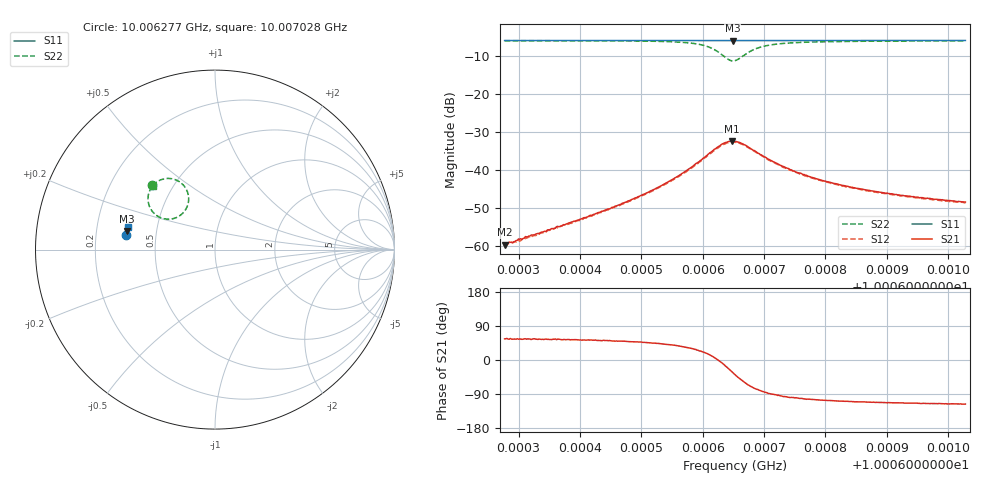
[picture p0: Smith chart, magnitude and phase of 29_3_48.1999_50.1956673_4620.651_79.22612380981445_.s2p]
#  HZ  S  RI  R  50.00
! Rohde & Schwarz Vector Network Analyzer
! Rohde-Schwarz,ZNB20-2Port,1311601062101988,3.16
! Created: UTC 3/20/2024, 11:37:17 AM
! freq[Hz]  re:S11  im:S11  re:S21  im:S21  re:S12  im:S12  re:S22  im:S22
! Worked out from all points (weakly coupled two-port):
!   401 points, 10.006277 GHz to 10.007028 GHz, reference 50 ohm
!   highest |S21| = -32.49 dB at 10.006647 GHz (marker M1); lowest = -59.8 dB at 10.006277 GHz (marker M2)
!   lowest |S11| = -6.0 dB at 10.006649 GHz (marker M3), VSWR 3.00, Z = 16.8 + j4.63 ohm
!   |S11| at or under -10 dB: nowhere
!   |S22| runs from -11.3 to -6.0 dB; largest |S21 - S12| = 0.0016
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1.00062772e10  -0.4957 0.0802  0.000579 0.000849  0.000507 0.000845  -0.3493 0.3575
1.0006403e10  -0.4945 0.0884  0.00139 0.00179  0.00125 0.00182  -0.3342 0.3707
1.00064631e10  -0.4938 0.0926  0.00221 0.00263  0.00207 0.00267  -0.3216 0.3792
1.00065288e10  -0.493 0.0968  0.00432 0.00409  0.00407 0.00416  -0.2953 0.3912
1.00065645e10  -0.4923 0.0994  0.00705 0.00512  0.00665 0.0053  -0.2659 0.3964
1.0006602e10  -0.4913 0.1019  0.0134 0.00503  0.013 0.00538  -0.2043 0.3818
1.00066171e10  -0.4905 0.1025  0.0177 0.00272  0.0171 0.00331  -0.1693 0.351
1.00066302e10  -0.49 0.103  0.0213 -0.00236  0.0207 -0.0012  -0.1476 0.2983
1.00066396e10  -0.4898 0.1032  0.0218 -0.00752  0.0216 -0.00617  -0.152 0.248
1.00066471e10  -0.4897 0.1032  0.0205 -0.012  0.0206 -0.0105  -0.1735 0.2094
1.0006649e10  -0.4895 0.1031  0.0198 -0.0129  0.0201 -0.0115  -0.1811 0.2013
1.00066527e10  -0.4898 0.1033  0.0184 -0.0148  0.0188 -0.0134  -0.1984 0.1876
1.0006664e10  -0.49 0.1035  0.013 -0.0178  0.0136 -0.0168  -0.2564 0.1694
1.00066772e10  -0.4905 0.1041  0.00709 -0.018  0.00794 -0.0172  -0.3116 0.1819
1.00066997e10  -0.4909 0.1056  0.00158 -0.0148  0.00218 -0.0146  -0.3574 0.2252
1.00067354e10  -0.4908 0.1084  -0.00128 -0.0105  -0.000773 -0.0104  -0.3731 0.2742
1.00067523e10  -0.4906 0.1097  -0.00152 -0.00917  -0.00116 -0.00911  -0.3732 0.289
1.00067786e10  -0.4904 0.1113  -0.0019 -0.00769  -0.0015 -0.00762  -0.3711 0.3052
1.00068424e10  -0.4897 0.1156  -0.00194 -0.00555  -0.00169 -0.00552  -0.3638 0.3287
1.00069044e10  -0.4889 0.1197  -0.00187 -0.00448  -0.00167 -0.00446  -0.3572 0.3415
1.0006957e10  -0.4882 0.123  -0.00178 -0.0039  -0.00158 -0.00389  -0.3526 0.349
1.00070283e10  -0.4871 0.1276  -0.00166 -0.00337  -0.00144 -0.00337  -0.347 0.357
